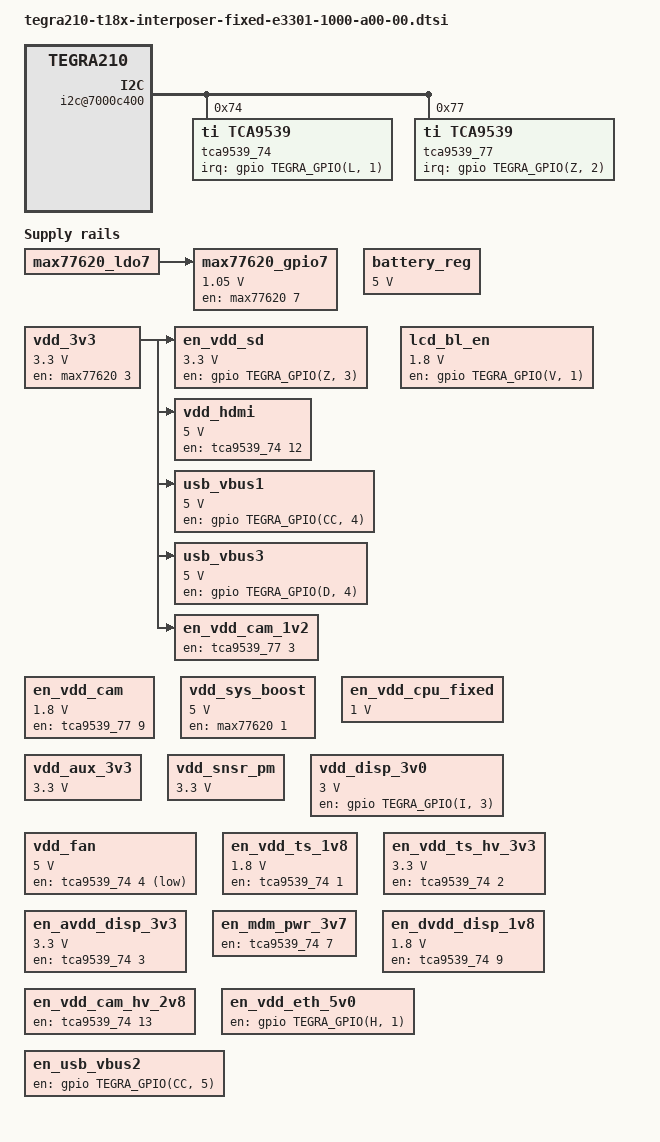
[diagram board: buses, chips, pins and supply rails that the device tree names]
/*
 * Copyright (c) 2014, NVIDIA CORPORATION.  All rights reserved.
 *
 * This program is free software; you can redistribute it and/or modify
 * it under the terms of the GNU General Public License as published by
 * the Free Software Foundation; either version 2 of the License, or
 * (at your option) any later version.
 *
 * This program is distributed in the hope that it will be useful, but WITHOUT
 * ANY WARRANTY; without even the implied warranty of MERCHANTABILITY or
 * FITNESS FOR A PARTICULAR PURPOSE.  See the GNU General Public License for
 * more details.
 *
 * You should have received a copy of the GNU General Public License along
 * with this program; if not, write to the Free Software Foundation, Inc.,
 * 51 Franklin Street, Fifth Floor, Boston, MA  02110-1301, USA.
 */

#include <dt-bindings/gpio/tegra-gpio.h>

/ {
	i2c@7000c400 {
	       tca9539_74: tca9539@74 {
			compatible = "ti,tca9539";
			gpio-controller;
			#gpio-cells = <2>;
			reg = <0x74>;
			interrupt-parent = <&gpio>;
			interrupts = <TEGRA_GPIO(L, 1) 0x0>;
			#interrupt-cells = <2>;
			interrupt-controller;
		};

		tca9539_77: tca9539@77 {
			compatible = "ti,tca9539";
			gpio-controller;
			#gpio-cells = <2>;
			reg = <0x77>;
			interrupt-parent = <&gpio>;
			interrupts = <TEGRA_GPIO(Z, 2) 0x0>;
			#interrupt-cells = <2>;
			interrupt-controller;
		};
	};

	regulators {
		compatible = "simple-bus";
		device_type = "fixed-regulators";
		#address-cells = <1>;
		#size-cells = <0>;

		battery_reg: regulator@0 {
			compatible = "regulator-fixed";
			reg = <0>;
			regulator-name = "vdd-ac-bat";
			regulator-min-microvolt = <5000000>;
			regulator-max-microvolt = <5000000>;
			regulator-always-on;
		};

		vdd_3v3: regulator@1 {
			compatible = "regulator-fixed-sync";
			reg = <1>;
			regulator-name = "vdd-3v3";
			regulator-min-microvolt = <3300000>;
			regulator-max-microvolt = <3300000>;
			regulator-always-on;
			gpio = <&max77620 3 0>;
			enable-active-high;
			consumers {
				c1 {
					regulator-consumer-supply = "avdd_usb";
					regulator-consumer-device = "tegra-ehci.0";
				};
				c2 {
					regulator-consumer-supply = "avdd_usb";
					regulator-consumer-device = "tegra-ehci.1";
				};
				c3 {
					regulator-consumer-supply = "avdd_usb";
					regulator-consumer-device = "tegra-ehci.2";
				};
				c5 {
					regulator-consumer-supply = "vdd";
					regulator-consumer-device = "1-004d";
				};
			};
		};

		max77620_gpio7: regulator@2 {
			compatible = "regulator-fixed-sync";
			reg = <2>;
			regulator-name = "max77620-gpio7";
			regulator-min-microvolt = <1050000>;
			regulator-max-microvolt = <1050000>;
			vin-supply = <&max77620_ldo7>;
			regulator-boot-on;
			gpio = <&max77620 7 0>;
			enable-active-high;
		};

		lcd_bl_en: regulator@3 {
			compatible = "regulator-fixed-sync";
			reg = <3>;
			regulator-name = "lcd-bl-en";
			regulator-min-microvolt = <1800000>;
			regulator-max-microvolt = <1800000>;
			regulator-boot-on;
			gpio = <&gpio TEGRA_GPIO(V, 1) 0>;
			enable-active-high;
		};

		en_vdd_sd: regulator@4 {
			compatible = "regulator-fixed-sync";
			reg = <4>;
			regulator-name = "en-vdd-sd";
			regulator-min-microvolt = <3300000>;
			regulator-max-microvolt = <3300000>;
			gpio = <&gpio TEGRA_GPIO(Z, 3) 0>;
			enable-active-high;
			vin-supply = <&vdd_3v3>;
		};

		en_vdd_cam: regulator@5 {
			compatible = "regulator-fixed-sync";
			reg = <5>;
			regulator-name = "en-vdd-cam";
			regulator-min-microvolt = <1800000>;
			regulator-max-microvolt = <1800000>;
			gpio = <&tca9539_77 9 1>;
			enable-active-high;
			consumers {
				c1 {
					regulator-consumer-supply = "vif";
				};
			};
		};

		vdd_sys_boost: regulator@6 {
			compatible = "regulator-fixed-sync";
			reg = <6>;
			regulator-name = "vdd-sys-boost";
			regulator-min-microvolt = <5000000>;
			regulator-max-microvolt = <5000000>;
			regulator-always-on;
			gpio = <&max77620 1 0>;
			enable-active-high;
		};

		vdd_hdmi: regulator@7 {
			compatible = "regulator-fixed-sync";
			reg = <7>;
			regulator-name = "vdd-hdmi";
			regulator-min-microvolt = <5000000>;
			regulator-max-microvolt = <5000000>;
			gpio = <&tca9539_74 12 1>;
			vin-supply = <&vdd_3v3>;
			enable-active-high;
		};

		en_vdd_cpu_fixed: regulator@8 {
			compatible = "regulator-fixed";
			reg = <8>;
			regulator-name = "vdd-cpu-fixed";
			regulator-min-microvolt = <1000000>;
			regulator-max-microvolt = <1000000>;
		};

		vdd_aux_3v3: regulator@9 {
			compatible = "regulator-fixed-sync";
			reg = <9>;
			regulator-name = "aux-3v3";
			regulator-min-microvolt = <3300000>;
			regulator-max-microvolt = <3300000>;
		};

		vdd_snsr_pm: regulator@10 {
			compatible = "regulator-fixed-sync";
			reg = <10>;
			regulator-name = "snsr_pm";
			enable-active-high;
			regulator-min-microvolt = <3300000>;
			regulator-max-microvolt = <3300000>;
		};

		vdd_usb_5v0: regulator@11 {
			compatible = "regulator-fixed-sync";
			reg = <11>;
			status = "disabled";
			regulator-name = "vdd-usb-5v0";
			regulator-min-microvolt = <5000000>;
			regulator-max-microvolt = <5000000>;
			vin-supply = <&vdd_3v3>;
			regulator-always-on;
			enable-active-high;
			consumers {
				c0 {
					regulator-consumer-supply = "usb_vbus";
					regulator-consumer-device = "tegra-ehci.1";
				};
				c1 {
					regulator-consumer-supply = "usb_vbus";
					regulator-consumer-device = "tegra-ehci.2";
				};
			};
		};
		vdd_disp_3v0: regulator@12 {
			compatible = "regulator-fixed-sync";
			reg = <12>;
			regulator-name = "vdd-disp-3v0";
			regulator-min-microvolt = <3000000>;
			regulator-max-microvolt = <3000000>;
			gpio = <&gpio TEGRA_GPIO(I, 3) 0>;
			regulator-boot-on;
			enable-active-high;
			regulator-enable-ramp-delay = <232>;
		};

		vdd_fan: regulator@13 {
			compatible = "regulator-fixed-sync";
			reg = <13>;
			regulator-name = "vdd-fan";
			regulator-min-microvolt = <5000000>;
			regulator-max-microvolt = <5000000>;
			gpio = <&tca9539_74 4 0>;
			regulator-enable-ramp-delay = <284>;
			regulator-disable-ramp-delay = <6200>;
		};

		usb_vbus1: regulator@14 {
			compatible = "regulator-fixed-sync";
			reg = <14>;
			regulator-name = "usb-vbus1";
			regulator-min-microvolt = <5000000>;
			regulator-max-microvolt = <5000000>;
			gpio = <&gpio TEGRA_GPIO(CC, 4) 0>;
			enable-active-high;
			gpio-open-drain;
			vin-supply = <&vdd_3v3>;
		};

		usb_vbus3: regulator@15 {
			compatible = "regulator-fixed-sync";
			reg = <15>;
			regulator-name = "usb-vbus3";
			regulator-min-microvolt = <5000000>;
			regulator-max-microvolt = <5000000>;
			gpio = <&gpio TEGRA_GPIO(D, 4) 0>;
			enable-active-high;
			gpio-open-drain;
			vin-supply = <&vdd_3v3>;
		};
		vdd_cdc_1v2_aud: regulator@101 {
			compatible = "regulator-fixed-sync";
			reg = <101>;
			status = "disabled";
			regulator-name = "vdd_cdc_1v2_aud";
			regulator-min-microvolt = <1200000>;
			regulator-max-microvolt = <1200000>;
			enable-active-high;
			startup-delay-us = <250000>;
		};
		en_vdd_ts_1v8: regulator@201 {
			compatible = "regulator-fixed-sync";
			reg = <201>;
			regulator-name = "en-vdd-ts-1v8";
			regulator-min-microvolt = <1800000>;
			regulator-max-microvolt = <1800000>;
			gpio = <&tca9539_74 1 1>;
			enable-active-high;
		};

		en_vdd_ts_hv_3v3: regulator@202 {
			compatible = "regulator-fixed-sync";
			reg = <202>;
			regulator-name = "en-vdd-ts-hv-3v3";
			regulator-min-microvolt = <3300000>;
			regulator-max-microvolt = <3300000>;
			gpio = <&tca9539_74 2 1>;
			enable-active-high;
		};

		en_avdd_disp_3v3: regulator@203 {
			compatible = "regulator-fixed-sync";
			reg = <203>;
			regulator-name = "en-vdd-disp-3v3";
			regulator-min-microvolt = <3300000>;
			regulator-max-microvolt = <3300000>;
			gpio = <&tca9539_74 3 1>;
			enable-active-high;
		};


		en_mdm_pwr_3v7: regulator@204 {
			compatible = "regulator-fixed-sync";
			reg = <204>;
			regulator-name = "en-mdm-pwr-3v7";
			regulator-min-microvol = <3700000>;
			regulator-max-microvol = <3700000>;
			gpio = <&tca9539_74 7 1>;
			enable-active-high;
		};

		en_dvdd_disp_1v8: regulator@205 {
			compatible = "regulator-fixed-sync";
			reg = <205>;
			regulator-name = "en-vdd-disp-1v8";
			regulator-min-microvolt = <1800000>;
			regulator-max-microvolt = <1800000>;
			gpio = <&tca9539_74 9 1>;
			enable-active-high;
		};

		en_vdd_cam_hv_2v8: regulator@206 {
			compatible = "regulator-fixed-sync";
			reg = <206>;
			regulator-name = "en-vdd-cam-hv-2v8";
			regulator-min-microvol = <2800000>;
			regulator-max-microvol = <2800000>;
			gpio = <&tca9539_74 13 1>;
			enable-active-high;
		};

		en_vdd_eth_5v0: regulator@207 {
			compatible = "regulator-fixed-sync";
			reg = <207>;
			regulator-name = "rtl-5v0";
			regulator-min-microvol = <5000000>;
			regulator-max-microvol = <5000000>;
			gpio = <&gpio TEGRA_GPIO(H, 1) 0>;
			enable-active-high;
		};

		en_usb_vbus2: regulator@208 {
			compatible = "regulator-fixed-sync";
			reg = <208>;
			regulator-name = "en-usb-vbus2";
			regulator-min-microvol = <5000000>;
			regulator-max-microvol = <5000000>;
			gpio = <&gpio TEGRA_GPIO(CC, 5) 0>;
			enable-active-high;
		};

		en_vdd_cam_1v2: regulator@209 {
			compatible = "regulator-fixed-sync";
			reg = <209>;
			regulator-name = "en-vdd-cam-1v2";
			regulator-min-microvol = <1200000>;
			regulator-max-microvol = <1200000>;
			vin-supply = <&vdd_3v3>;
			gpio = <&tca9539_77 3 1>;
			enable-active-high;
		};
	};
};
